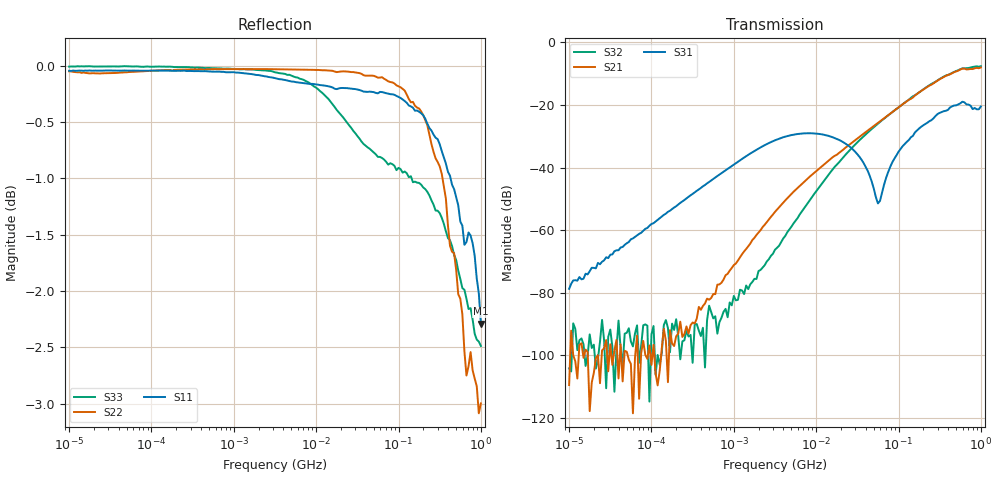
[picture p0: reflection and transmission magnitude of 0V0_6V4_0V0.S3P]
!Keysight Technologies,E5080A,MY55100144,A.11.70.03
!Date: Monday, November 13, 2017 17:25:57
!Correction: S11(Full 3 Port(1,2,3))
!S12(Full 3 Port(1,2,3))
!S13(Full 3 Port(1,2,3))
!S21(Full 3 Port(1,2,3))
!S22(Full 3 Port(1,2,3))
!S23(Full 3 Port(1,2,3))
!S31(Full 3 Port(1,2,3))
!S32(Full 3 Port(1,2,3))
!S33(Full 3 Port(1,2,3))
!S3P File: Measurements: <S11,S12,S13>,
!<S21,S22,S23>,
!<S31,S32,S33>:Log Frequency Sweep
# Hz S  RI  R 50
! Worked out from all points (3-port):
!   201 points, 10 kHz to 1 GHz, reference 50 ohm
!   strongest paths, dB at 10 kHz, 177.8 kHz, 3.162 MHz, 56.23 MHz, 1 GHz:
!     S31: -78.8, -53.3, -31.3, -51.5, -20.5
!     S21: -109.5, -96.2, -54.2, -25.7, -8.0
!     S32: -104.2, -89.9, -66.3, -26.0, -7.6
!   lowest |S11| = -2.3 dB at 1 GHz (marker M1), VSWR 7.63, Z = 382 - j0.313 ohm
!   |S11| at or under -10 dB: nowhere
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10000  0.9949 -0.00552  -9.6e-06 1.94e-06  1.51e-05 0.000136
       3.13e-06 -1.18e-06  0.4708 -0.8758  -7.85e-06 4.09e-06
       4.32e-06 0.000115  4.79e-06 3.92e-06  0.9991 -0.00216
50118.72  0.9946 -0.0271  -6.93e-06 1.98e-05  1.63e-05 0.00062
          -1.2e-06 1.13e-05  -0.7916 -0.6001  -1.1e-05 5.57e-06
          2.89e-05 0.000615  3.32e-06 2.26e-05  0.9994 -0.00566
595662.1  0.9439 -0.3117  -7.33e-05 6.3e-05  0.00154 0.00675
          -8.08e-05 4.99e-05  -0.9951 -0.054  -1.15e-05 3.33e-05
          0.00155 0.00676  -2.62e-05 3.29e-05  0.9958 -0.0572
3162278  0.1512 -0.9758  -0.00133 0.00143  0.0207 0.0177
         -0.00133 0.00144  -0.9965 0.00476  -0.000398 0.000223
         0.0208 0.0176  -0.00043 0.000228  0.9502 -0.2894
2.113489e7  -0.9394 -0.2705  -0.00131 0.0192  0.0205 -0.0152
            -0.00126 0.0191  -0.9895 0.098  -0.00858 0.0115
            0.0205 -0.0153  -0.0086 0.0115  -0.0178 -0.9487
5.623413e7  -0.9709 0.0504  0.0087 0.051  0.00267 -2.54e-06
            0.00879 0.0511  -0.9534 0.2587  -0.0054 0.05
            0.00267 -1.41e-05  -0.00535 0.0499  -0.761 -0.5009
1.059254e8  -0.9338 0.2536  0.0374 0.0895  0.00779 0.0184
            0.0375 0.0895  -0.861 0.4644  0.023 0.0945
            0.0077 0.0183  0.0229 0.0944  -0.8951 -0.0911
3.758374e8  -0.3693 0.8261  0.29 0.0335  0.0806 -0.00591
            0.2901 0.0334  0.0977 0.8675  0.2903 0.0576
            0.0806 -0.00594  0.2899 0.0576  -0.4868 0.6899
7.079458e8  0.4634 0.7046  0.2006 -0.3133  0.0116 -0.1009
            0.2004 -0.3135  0.6998 0.2266  0.246 -0.3025
            0.0117 -0.101  0.2463 -0.3023  0.2568 0.7363
1e9  0.7683 -0.000168  -0.1 -0.3846  -0.0569 -0.0756
     -0.1004 -0.3849  0.5905 -0.3908  -0.046 -0.4148
     -0.0571 -0.0756  -0.0455 -0.4148  0.6828 0.3127
